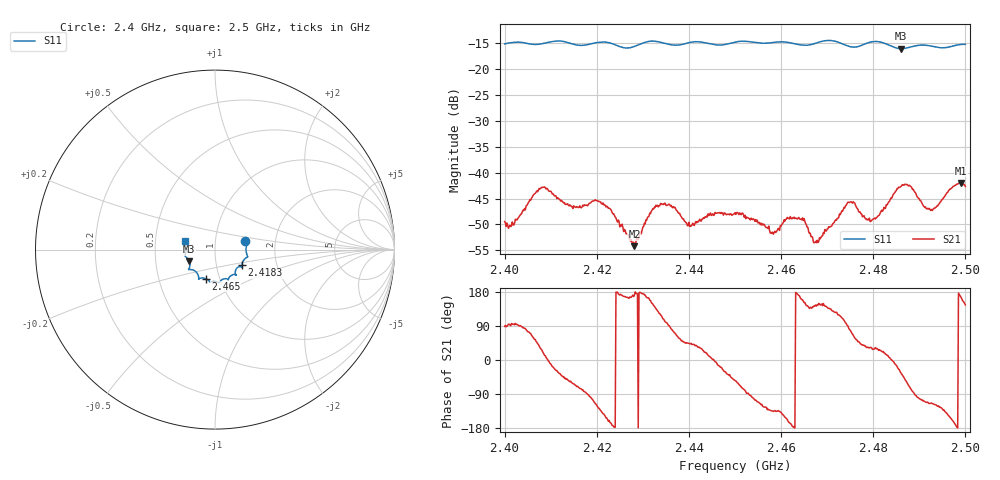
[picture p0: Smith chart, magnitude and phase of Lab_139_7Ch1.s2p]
# Hz S RI R 50
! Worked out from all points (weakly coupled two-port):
!   601 points, 2.4 GHz to 2.5 GHz, reference 50 ohm
!   highest |S21| = -41.99 dB at 2.499 GHz (marker M1); lowest = -54.2 dB at 2.4282 GHz (marker M2)
!   lowest |S11| = -16.1 dB at 2.486 GHz (marker M3), VSWR 1.37, Z = 37.2 - j4.96 ohm
!   |S11| at or under -10 dB: start of sweep to end of sweep
!   S12 and S22 are empty: the file has one direction only
!   S11 on the Smith chart (normalised r, x): 2.4 GHz: 1.40, +0.14; 2.4183 GHz: 1.33, -0.24; 2.465 GHz: 0.86, -0.29; 2.5 GHz: 0.71, +0.07
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2.4e9  0.1687 0.0469  7.73e-05 0.00337  0 0  0 0
2.401667e9  0.1765 0.0387  -0.000285 0.00334  0 0  0 0
2.408167e9  0.175 -0.0175  0.00656 0.00289  0 0  0 0
2.416667e9  0.1547 -0.0685  0.00106 -0.00446  0 0  0 0
2.418333e9  0.1501 -0.0872  -0.000401 -0.00503  0 0  0 0
2.422667e9  0.1507 -0.0975  -0.00425 -0.00161  0 0  0 0
2.428167e9  0.1135 -0.1203  -0.00192 0.000328  0 0  0 0
2.433333e9  0.1175 -0.1411  -0.00286 0.00369  0 0  0 0
2.440167e9  0.0757 -0.1639  0.00223 0.00205  0 0  0 0
2.45e9  0.0263 -0.1802  0.0024 -0.00333  0 0  0 0
2.458167e9  -0.0185 -0.1793  -0.00187 -0.0019  0 0  0 0
2.4615e9  -0.03 -0.1781  -0.00346 -0.00117  0 0  0 0
2.465e9  -0.0523 -0.1617  -0.00317 0.00171  0 0  0 0
2.466667e9  -0.0712 -0.1577  -0.00176 0.00166  0 0  0 0
2.468167e9  -0.0845 -0.1605  -0.00186 0.0011  0 0  0 0
2.474833e9  -0.0996 -0.1318  0.000821 0.00507  0 0  0 0
2.479333e9  -0.1441 -0.1109  0.00282 0.00185  0 0  0 0
2.483333e9  -0.1411 -0.0967  0.00516 0.000741  0 0  0 0
2.486e9  -0.1432 -0.065  0.0061 -0.00409  0 0  0 0
2.4925e9  -0.1651 -0.0246  -0.00176 -0.00393  0 0  0 0
2.499e9  -0.1677 0.0417  -0.00772 0.00191  0 0  0 0
2.5e9  -0.1668 0.0468  -0.00603 0.00419  0 0  0 0
